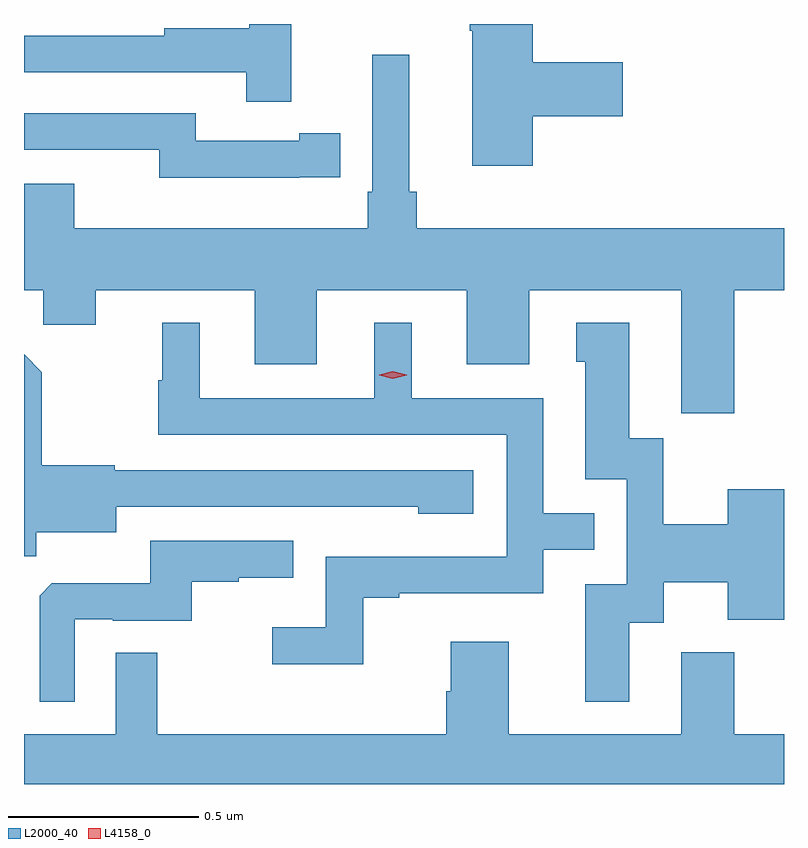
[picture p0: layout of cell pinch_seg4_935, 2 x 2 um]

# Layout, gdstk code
import gdstk
lib = gdstk.Library(unit=1e-6, precision=1e-09)
def P(c, l, *ps):  # polygons
    for p in ps: c.add(gdstk.Polygon(p, *l))
L2000_40 = (2000, 40)
L4158_0 = (4158, 0)

pinch_seg4_935 = lib.new_cell('pinch_seg4_935')
P(pinch_seg4_935, L2000_40, [(663.443,807.934),(663.679,807.934),(663.679,808.076),(663.443,808.076),(663.443,808.177),(663.277,808.177),(663.277,808.159),(663.284,808.159),(663.284,807.804),(663.443,807.804)],
  [(662.807,808.177),(662.697,808.177),(662.697,808.166),(662.473,808.166),(662.473,808.146),(662.104,808.146),(662.104,808.05),(662.689,808.05),(662.689,807.972),(662.807,807.972)],
  [(663.973,807.476),(664.104,807.476),(664.104,807.64),(663.137,807.64),(663.137,807.736),(663.118,807.736),(663.118,808.096),(663.021,808.096),(663.021,807.736),(663.008,807.736),(663.008,807.64),(662.236,807.64),(662.236,807.757),(662.104,807.757),(662.104,807.476),(662.155,807.476),(662.155,807.386),(662.293,807.386),(662.293,807.476),(662.711,807.476),(662.711,807.282),(662.875,807.282),(662.875,807.476),(663.269,807.476),(663.269,807.282),(663.433,807.282),(663.433,807.476),(663.833,807.476),(663.833,807.265),(663.834,807.265),(663.834,807.153),(663.973,807.153)],
  [(662.828,807.774),(662.936,807.774),(662.936,807.89),(662.828,807.89),(662.828,807.87),(662.556,807.87),(662.556,807.942),(662.104,807.942),(662.104,807.846),(662.46,807.846),(662.46,807.773),(662.828,807.773)],
  [(662.997,806.667),(663.091,806.667),(663.091,806.679),(663.471,806.679),(663.471,806.793),(663.605,806.793),(663.605,806.889),(663.471,806.889),(663.471,807.192),(663.124,807.192),(663.124,807.391),(663.026,807.391),(663.026,807.192),(662.566,807.192),(662.566,807.391),(662.468,807.391),(662.468,807.24),(662.457,807.24),(662.457,807.096),(663.375,807.096),(663.375,806.775),(662.898,806.775),(662.898,806.59),(662.757,806.59),(662.757,806.492),(662.997,806.492)],
  [(663.697,806.602),(663.787,806.602),(663.787,806.708),(663.956,806.708),(663.956,806.609),(664.104,806.609),(664.104,806.953),(663.956,806.953),(663.956,806.86),(663.786,806.86),(663.786,807.087),(663.697,807.087),(663.697,807.391),(663.557,807.391),(663.557,807.288),(663.581,807.288),(663.581,806.979),(663.69,806.979),(663.69,806.703),(663.581,806.703),(663.581,806.394),(663.697,806.394)],
  [(662.136,806.84),(662.347,806.84),(662.347,806.907),(662.905,806.907),(662.905,806.906),(663.141,806.906),(663.141,806.888),(663.286,806.888),(663.286,807.003),(662.343,807.003),(662.343,807.016),(662.151,807.016),(662.151,807.261),(662.104,807.308),(662.104,806.776),(662.136,806.776)],
  [(662.238,806.61),(662.338,806.61),(662.338,806.607),(662.546,806.607),(662.546,806.709),(662.669,806.709),(662.669,806.72),(662.813,806.72),(662.813,806.817),(662.436,806.817),(662.436,806.705),(662.177,806.705),(662.145,806.673),(662.145,806.393),(662.238,806.393)],
  [(664.104,806.308),(663.973,806.308),(663.973,806.524),(663.833,806.524),(663.833,806.308),(663.379,806.308),(663.379,806.551),(663.227,806.551),(663.227,806.421),(663.215,806.421),(663.215,806.308),(662.455,806.308),(662.455,806.522),(662.346,806.522),(662.346,806.308),(662.104,806.308),(662.104,806.177),(664.104,806.177)])
P(pinch_seg4_935, L4158_0, [(663.075,807.244),(663.039,807.253),(663.039,807.253),(663.039,807.254),(663.075,807.263),(663.111,807.254),(663.111,807.253),(663.111,807.253)])

lib.write_gds('pinch_seg4_935.gds')
